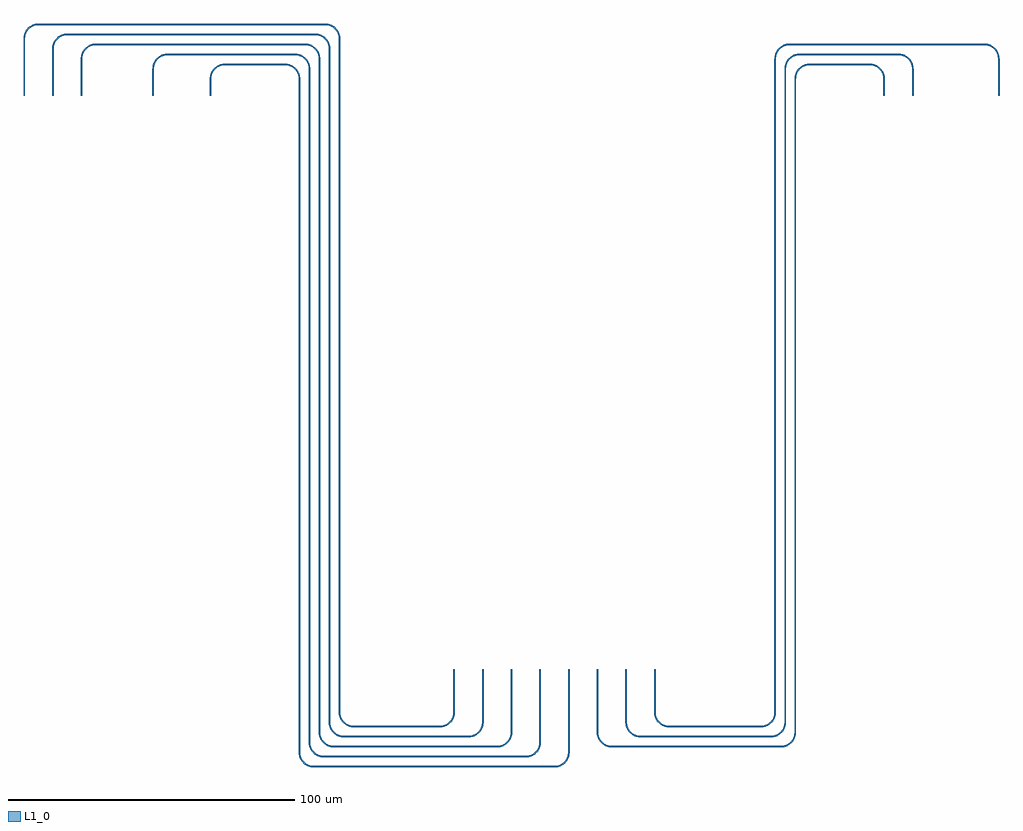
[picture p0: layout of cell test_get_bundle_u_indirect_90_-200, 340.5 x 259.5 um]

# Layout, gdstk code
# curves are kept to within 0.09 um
from math import pi, radians
import gdstk
lib = gdstk.Library(unit=1e-6, precision=1e-09)
def R(c, l, rs):  # rectangles x0, y0, x1, y1
    for r in rs: c.add(gdstk.rectangle(r[:2], r[2:], *l))
def P(c, l, *ps):  # polygons
    for p in ps: c.add(gdstk.Polygon(p, *l))
L1_0 = (1, 0)

bend_circular_b549158f = lib.new_cell('bend_circular_b549158f')
P(bend_circular_b549158f, L1_0, [(0,-0.25),(1.092,-0.135),(2.135,0.204),(3.086,0.753),(3.712,1.288),(4.247,1.914),(4.796,2.865),(5.135,3.908),(5.25,5),(4.75,5),(4.646,4.012),(4.339,3.068),(3.984,2.413),(3.359,1.641),(2.587,1.016),(1.932,0.661),(0.988,0.354),(0,0.25)])

straight_63655ed6 = lib.new_cell('straight_63655ed6')
R(straight_63655ed6, L1_0, [(0,-0.25,6,0.25)])

straight_80b2f504 = lib.new_cell('straight_80b2f504')
R(straight_80b2f504, L1_0, [(0,-0.25,21,0.25)])

straight_98510f9c = lib.new_cell('straight_98510f9c')
R(straight_98510f9c, L1_0, [(0,-0.25,235,0.25)])

straight_4051d17a = lib.new_cell('straight_4051d17a')
R(straight_4051d17a, L1_0, [(0,-0.25,84,0.25)])

straight_f4586a41 = lib.new_cell('straight_f4586a41')
R(straight_f4586a41, L1_0, [(0,-0.25,29,0.25)])

straight_5006edc8 = lib.new_cell('straight_5006edc8')
R(straight_5006edc8, L1_0, [(0,-0.25,9.5,0.25)])

straight_f4310e20 = lib.new_cell('straight_f4310e20')
R(straight_f4310e20, L1_0, [(0,-0.25,44.5,0.25)])

straight_c98b3d0e = lib.new_cell('straight_c98b3d0e')
R(straight_c98b3d0e, L1_0, [(0,-0.25,70.5,0.25)])

straight_ff723e3d = lib.new_cell('straight_ff723e3d')
R(straight_ff723e3d, L1_0, [(0,-0.25,25.5,0.25)])

straight_791fb8f2 = lib.new_cell('straight_791fb8f2')
R(straight_791fb8f2, L1_0, [(0,-0.25,13,0.25)])

straight_f236764b = lib.new_cell('straight_f236764b')
R(straight_f236764b, L1_0, [(0,-0.25,73,0.25)])

straight_6821633d = lib.new_cell('straight_6821633d')
R(straight_6821633d, L1_0, [(0,-0.25,57,0.25)])

straight_b198cf17 = lib.new_cell('straight_b198cf17')
R(straight_b198cf17, L1_0, [(0,-0.25,22,0.25)])

straight_a030f81d = lib.new_cell('straight_a030f81d')
R(straight_a030f81d, L1_0, [(0,-0.25,16.5,0.25)])

straight_17dc843f = lib.new_cell('straight_17dc843f')
R(straight_17dc843f, L1_0, [(0,-0.25,86.5,0.25)])

straight_0bb8aebd = lib.new_cell('straight_0bb8aebd')
R(straight_0bb8aebd, L1_0, [(0,-0.25,43.5,0.25)])

straight_48f0a077 = lib.new_cell('straight_48f0a077')
R(straight_48f0a077, L1_0, [(0,-0.25,18.5,0.25)])

straight_ff94a3a2 = lib.new_cell('straight_ff94a3a2')
R(straight_ff94a3a2, L1_0, [(0,-0.25,20,0.25)])

straight_aca69ace = lib.new_cell('straight_aca69ace')
R(straight_aca69ace, L1_0, [(0,-0.25,100,0.25)])

straight_ce839c00 = lib.new_cell('straight_ce839c00')
R(straight_ce839c00, L1_0, [(0,-0.25,30,0.25)])

straight_300acbf5 = lib.new_cell('straight_300acbf5')
R(straight_300acbf5, L1_0, [(0,-0.25,15,0.25)])

straight_f1f8f811 = lib.new_cell('straight_f1f8f811')
R(straight_f1f8f811, L1_0, [(0,-0.25,228,0.25)])

straight_b6784808 = lib.new_cell('straight_b6784808')
R(straight_b6784808, L1_0, [(0,-0.25,59,0.25)])

straight_98fc0f92 = lib.new_cell('straight_98fc0f92')
R(straight_98fc0f92, L1_0, [(0,-0.25,34.5,0.25)])

straight_e09a97ed = lib.new_cell('straight_e09a97ed')
R(straight_e09a97ed, L1_0, [(0,-0.25,45.5,0.25)])

straight_d239bc4a = lib.new_cell('straight_d239bc4a')
R(straight_d239bc4a, L1_0, [(0,-0.25,68,0.25)])

straight_f0ef7f56 = lib.new_cell('straight_f0ef7f56')
R(straight_f0ef7f56, L1_0, [(0,-0.25,32,0.25)])

test_get_bundle_u_indire = lib.new_cell('test_get_bundle_u_indirect_90_-200')
test_get_bundle_u_indire.add(gdstk.Reference(bend_circular_b549158f, (-35,6), rotation=pi/2, x_reflection=True))
test_get_bundle_u_indire.add(gdstk.Reference(bend_circular_b549158f, (-9,11), x_reflection=True))
test_get_bundle_u_indire.add(gdstk.Reference(bend_circular_b549158f, (-4,-229), rotation=3*pi/2))
test_get_bundle_u_indire.add(gdstk.Reference(bend_circular_b549158f, (85,-234)))
test_get_bundle_u_indire.add(gdstk.Reference(straight_63655ed6, (-35,0), rotation=pi/2))
test_get_bundle_u_indire.add(gdstk.Reference(straight_80b2f504, (-30,11)))
test_get_bundle_u_indire.add(gdstk.Reference(straight_98510f9c, (-4,6), rotation=3*pi/2))
test_get_bundle_u_indire.add(gdstk.Reference(straight_4051d17a, (1,-234)))
test_get_bundle_u_indire.add(gdstk.Reference(straight_f4586a41, (90,-229), rotation=pi/2))
test_get_bundle_u_indire.add(gdstk.Reference(bend_circular_b549158f, (-55,9.5), rotation=pi/2, x_reflection=True))
test_get_bundle_u_indire.add(gdstk.Reference(bend_circular_b549158f, (-5.5,14.5), x_reflection=True))
test_get_bundle_u_indire.add(gdstk.Reference(bend_circular_b549158f, (-0.5,-225.5), rotation=3*pi/2))
test_get_bundle_u_indire.add(gdstk.Reference(bend_circular_b549158f, (75,-230.5)))
test_get_bundle_u_indire.add(gdstk.Reference(straight_5006edc8, (-55,0), rotation=pi/2))
test_get_bundle_u_indire.add(gdstk.Reference(straight_f4310e20, (-50,14.5)))
test_get_bundle_u_indire.add(gdstk.Reference(straight_98510f9c, (-0.5,9.5), rotation=3*pi/2))
test_get_bundle_u_indire.add(gdstk.Reference(straight_c98b3d0e, (4.5,-230.5)))
test_get_bundle_u_indire.add(gdstk.Reference(straight_ff723e3d, (80,-225.5), rotation=pi/2))
test_get_bundle_u_indire.add(gdstk.Reference(bend_circular_b549158f, (-80,13), rotation=pi/2, x_reflection=True))
test_get_bundle_u_indire.add(gdstk.Reference(bend_circular_b549158f, (-2,18), x_reflection=True))
test_get_bundle_u_indire.add(gdstk.Reference(bend_circular_b549158f, (3,-222), rotation=3*pi/2))
test_get_bundle_u_indire.add(gdstk.Reference(bend_circular_b549158f, (65,-227)))
test_get_bundle_u_indire.add(gdstk.Reference(straight_791fb8f2, (-80,0), rotation=pi/2))
test_get_bundle_u_indire.add(gdstk.Reference(straight_f236764b, (-75,18)))
test_get_bundle_u_indire.add(gdstk.Reference(straight_98510f9c, (3,13), rotation=3*pi/2))
test_get_bundle_u_indire.add(gdstk.Reference(straight_6821633d, (8,-227)))
test_get_bundle_u_indire.add(gdstk.Reference(straight_b198cf17, (70,-222), rotation=pi/2))
test_get_bundle_u_indire.add(gdstk.Reference(bend_circular_b549158f, (-90,16.5), rotation=pi/2, x_reflection=True))
test_get_bundle_u_indire.add(gdstk.Reference(bend_circular_b549158f, (1.5,21.5), x_reflection=True))
test_get_bundle_u_indire.add(gdstk.Reference(bend_circular_b549158f, (6.5,-218.5), rotation=3*pi/2))
test_get_bundle_u_indire.add(gdstk.Reference(bend_circular_b549158f, (55,-223.5)))
test_get_bundle_u_indire.add(gdstk.Reference(straight_a030f81d, (-90,0), rotation=pi/2))
test_get_bundle_u_indire.add(gdstk.Reference(straight_17dc843f, (-85,21.5)))
test_get_bundle_u_indire.add(gdstk.Reference(straight_98510f9c, (6.5,16.5), rotation=3*pi/2))
test_get_bundle_u_indire.add(gdstk.Reference(straight_0bb8aebd, (11.5,-223.5)))
test_get_bundle_u_indire.add(gdstk.Reference(straight_48f0a077, (60,-218.5), rotation=pi/2))
test_get_bundle_u_indire.add(gdstk.Reference(bend_circular_b549158f, (-100,20), rotation=pi/2, x_reflection=True))
test_get_bundle_u_indire.add(gdstk.Reference(bend_circular_b549158f, (5,25), x_reflection=True))
test_get_bundle_u_indire.add(gdstk.Reference(bend_circular_b549158f, (10,-215), rotation=3*pi/2))
test_get_bundle_u_indire.add(gdstk.Reference(bend_circular_b549158f, (45,-220)))
test_get_bundle_u_indire.add(gdstk.Reference(straight_ff94a3a2, (-100,0), rotation=pi/2))
test_get_bundle_u_indire.add(gdstk.Reference(straight_aca69ace, (-95,25)))
test_get_bundle_u_indire.add(gdstk.Reference(straight_98510f9c, (10,20), rotation=3*pi/2))
test_get_bundle_u_indire.add(gdstk.Reference(straight_ce839c00, (15,-220)))
test_get_bundle_u_indire.add(gdstk.Reference(straight_300acbf5, (50,-215), rotation=pi/2))
test_get_bundle_u_indire.add(gdstk.Reference(bend_circular_b549158f, (200,6), rotation=pi/2))
test_get_bundle_u_indire.add(gdstk.Reference(bend_circular_b549158f, (174,11), rotation=pi))
test_get_bundle_u_indire.add(gdstk.Reference(bend_circular_b549158f, (169,-222), rotation=3*pi/2, x_reflection=True))
test_get_bundle_u_indire.add(gdstk.Reference(bend_circular_b549158f, (105,-227), rotation=pi, x_reflection=True))
test_get_bundle_u_indire.add(gdstk.Reference(straight_63655ed6, (200,0), rotation=pi/2))
test_get_bundle_u_indire.add(gdstk.Reference(straight_80b2f504, (195,11), rotation=pi))
test_get_bundle_u_indire.add(gdstk.Reference(straight_f1f8f811, (169,6), rotation=3*pi/2))
test_get_bundle_u_indire.add(gdstk.Reference(straight_b6784808, (164,-227), rotation=pi))
test_get_bundle_u_indire.add(gdstk.Reference(straight_b198cf17, (100,-222), rotation=pi/2))
test_get_bundle_u_indire.add(gdstk.Reference(bend_circular_b549158f, (210,9.5), rotation=pi/2))
test_get_bundle_u_indire.add(gdstk.Reference(bend_circular_b549158f, (170.5,14.5), rotation=pi))
test_get_bundle_u_indire.add(gdstk.Reference(bend_circular_b549158f, (165.5,-218.5), rotation=3*pi/2, x_reflection=True))
test_get_bundle_u_indire.add(gdstk.Reference(bend_circular_b549158f, (115,-223.5), rotation=pi, x_reflection=True))
test_get_bundle_u_indire.add(gdstk.Reference(straight_5006edc8, (210,0), rotation=pi/2))
test_get_bundle_u_indire.add(gdstk.Reference(straight_98fc0f92, (205,14.5), rotation=pi))
test_get_bundle_u_indire.add(gdstk.Reference(straight_f1f8f811, (165.5,9.5), rotation=3*pi/2))
test_get_bundle_u_indire.add(gdstk.Reference(straight_e09a97ed, (160.5,-223.5), rotation=pi))
test_get_bundle_u_indire.add(gdstk.Reference(straight_48f0a077, (110,-218.5), rotation=pi/2))
test_get_bundle_u_indire.add(gdstk.Reference(bend_circular_b549158f, (240,13), rotation=pi/2))
test_get_bundle_u_indire.add(gdstk.Reference(bend_circular_b549158f, (167,18), rotation=pi))
test_get_bundle_u_indire.add(gdstk.Reference(bend_circular_b549158f, (162,-215), rotation=3*pi/2, x_reflection=True))
test_get_bundle_u_indire.add(gdstk.Reference(bend_circular_b549158f, (125,-220), rotation=pi, x_reflection=True))
test_get_bundle_u_indire.add(gdstk.Reference(straight_791fb8f2, (240,0), rotation=pi/2))
test_get_bundle_u_indire.add(gdstk.Reference(straight_d239bc4a, (235,18), rotation=pi))
test_get_bundle_u_indire.add(gdstk.Reference(straight_f1f8f811, (162,13), rotation=3*pi/2))
test_get_bundle_u_indire.add(gdstk.Reference(straight_f0ef7f56, (157,-220), rotation=pi))
test_get_bundle_u_indire.add(gdstk.Reference(straight_300acbf5, (120,-215), rotation=pi/2))

lib.write_gds('test_get_bundle_u_indirect_90_-200.gds')
